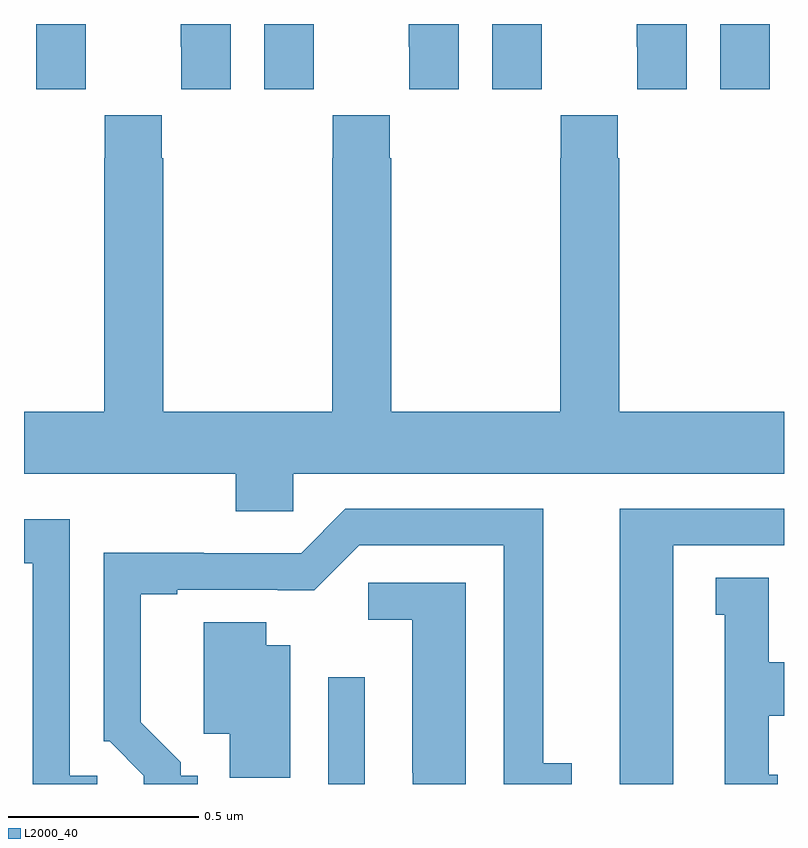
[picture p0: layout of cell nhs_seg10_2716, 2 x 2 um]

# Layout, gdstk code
import gdstk
lib = gdstk.Library(unit=1e-6, precision=1e-09)
def R(c, l, rs):  # rectangles x0, y0, x1, y1
    for r in rs: c.add(gdstk.rectangle(r[:2], r[2:], *l))
def P(c, l, *ps):  # polygons
    for p in ps: c.add(gdstk.Polygon(p, *l))
L2000_40 = (2000, 40)

nhs_seg10_2716 = lib.new_cell('nhs_seg10_2716')
R(nhs_seg10_2716, L2000_40, [(144.801,1299.5,144.897,1299.781)])
P(nhs_seg10_2716, L2000_40, [(145.962,1301.44),(145.963,1301.44),(145.963,1301.5),(145.832,1301.5),(145.832,1301.328),(145.962,1301.328)],
  [(144.162,1301.44),(144.163,1301.44),(144.163,1301.5),(144.032,1301.5),(144.032,1301.328),(144.162,1301.328)],
  [(144.544,1301.5),(144.413,1301.5),(144.413,1301.44),(144.414,1301.44),(144.414,1301.328),(144.544,1301.328)],
  [(144.762,1301.44),(144.763,1301.44),(144.763,1301.5),(144.632,1301.5),(144.632,1301.328),(144.762,1301.328)],
  [(145.144,1301.5),(145.013,1301.5),(145.013,1301.44),(145.014,1301.44),(145.014,1301.328),(145.144,1301.328)],
  [(145.362,1301.44),(145.363,1301.44),(145.363,1301.5),(145.232,1301.5),(145.232,1301.328),(145.362,1301.328)],
  [(145.744,1301.5),(145.613,1301.5),(145.613,1301.44),(145.614,1301.44),(145.614,1301.328),(145.744,1301.328)],
  [(144.708,1300.316),(146,1300.316),(146,1300.48),(145.566,1300.48),(145.566,1301.147),(145.563,1301.147),(145.563,1301.26),(145.413,1301.26),(145.413,1301.147),(145.411,1301.147),(145.411,1300.48),(144.966,1300.48),(144.966,1301.147),(144.963,1301.147),(144.963,1301.26),(144.813,1301.26),(144.813,1301.147),(144.811,1301.147),(144.811,1300.48),(144.366,1300.48),(144.366,1301.147),(144.363,1301.147),(144.363,1301.26),(144.213,1301.26),(144.213,1301.147),(144.211,1301.147),(144.211,1300.48),(144,1300.48),(144,1300.316),(144.557,1300.316),(144.557,1300.218),(144.708,1300.218)],
  [(144.457,1299.522),(144.412,1299.522),(144.412,1299.557),(144.307,1299.662),(144.307,1299.999),(144.403,1299.999),(144.403,1300.011),(144.668,1300.011),(144.668,1300.01),(144.764,1300.01),(144.882,1300.128),(145.262,1300.128),(145.262,1299.5),(145.441,1299.5),(145.441,1299.554),(145.366,1299.554),(145.366,1300.224),(144.846,1300.224),(144.729,1300.107),(144.473,1300.107),(144.473,1300.109),(144.21,1300.109),(144.21,1299.612),(144.225,1299.612),(144.315,1299.522),(144.315,1299.5),(144.457,1299.5)],
  [(145.708,1300.128),(146,1300.128),(146,1300.224),(145.568,1300.224),(145.568,1299.5),(145.708,1299.5)],
  [(144.193,1299.522),(144.12,1299.522),(144.12,1300.197),(144,1300.197),(144,1300.081),(144.023,1300.081),(144.023,1299.5),(144.193,1299.5)],
  [(145.984,1299.525),(145.96,1299.525),(145.96,1299.68),(146,1299.68),(146,1299.82),(145.96,1299.82),(145.96,1300.043),(145.82,1300.043),(145.82,1299.945),(145.844,1299.945),(145.844,1299.5),(145.984,1299.5)],
  [(145.162,1300.029),(144.906,1300.029),(144.906,1299.932),(145.022,1299.932),(145.022,1299.529),(145.023,1299.529),(145.023,1299.5),(145.162,1299.5)],
  [(144.7,1299.865),(144.637,1299.865),(144.637,1299.926),(144.473,1299.926),(144.473,1299.632),(144.542,1299.632),(144.542,1299.517),(144.7,1299.517)])

lib.write_gds('nhs_seg10_2716.gds')
